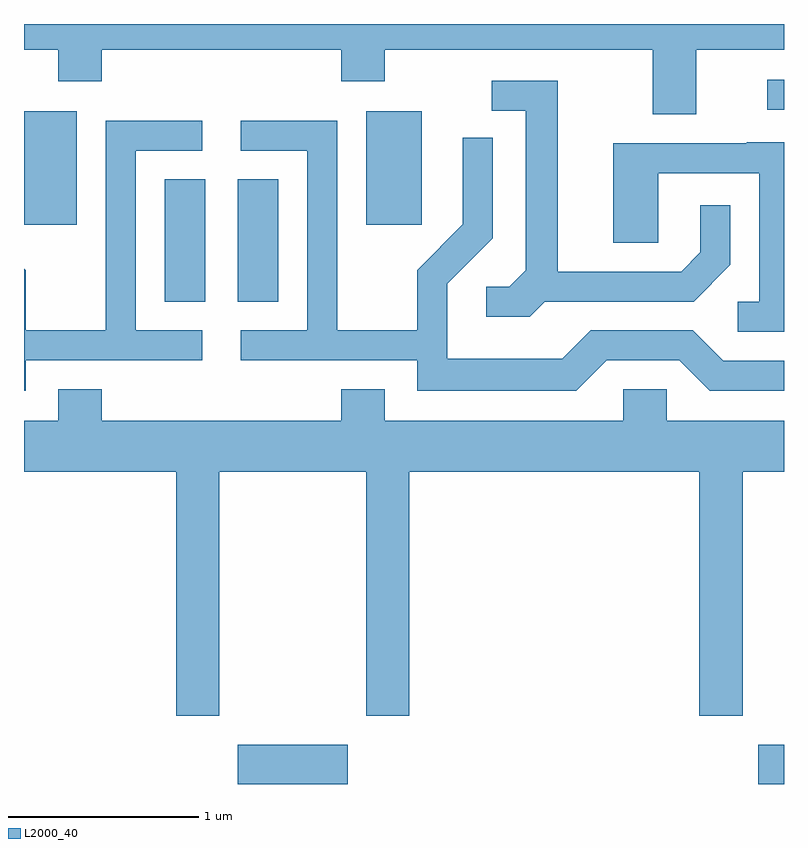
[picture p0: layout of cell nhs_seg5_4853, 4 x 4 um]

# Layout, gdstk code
import gdstk
lib = gdstk.Library(unit=1e-6, precision=1e-09)
def R(c, l, rs):  # rectangles x0, y0, x1, y1
    for r in rs: c.add(gdstk.rectangle(r[:2], r[2:], *l))
def P(c, l, *ps):  # polygons
    for p in ps: c.add(gdstk.Polygon(p, *l))
L2000_40 = (2000, 40)

nhs_seg5_4853 = lib.new_cell('nhs_seg5_4853')
R(nhs_seg5_4853, L2000_40, [(330.736,1424.072,331.314,1424.279), (333.476,1424.072,333.611,1424.279), (330.351,1426.611,330.564,1427.254), (330.736,1426.611,330.949,1427.254), (329.611,1427.016,329.889,1427.614), (331.411,1427.016,331.704,1427.614), (333.523,1427.621,333.611,1427.779)])
P(nhs_seg5_4853, L2000_40, [(333.149,1427.936),(333.611,1427.936),(333.611,1428.072),(329.611,1428.072),(329.611,1427.936),(329.791,1427.936),(329.791,1427.771),(330.019,1427.771),(330.019,1427.936),(331.281,1427.936),(331.281,1427.771),(331.509,1427.771),(331.509,1427.936),(332.921,1427.936),(332.921,1427.596),(333.149,1427.596)],
  [(332.352,1426.611),(333.137,1426.611),(333.329,1426.804),(333.329,1427.118),(333.171,1427.118),(333.171,1426.872),(333.069,1426.769),(332.419,1426.769),(332.419,1427.774),(332.073,1427.774),(332.073,1427.616),(332.251,1427.616),(332.251,1426.777),(332.164,1426.689),(332.043,1426.689),(332.043,1426.531),(332.272,1426.531)],
  [(332.677,1426.301),(333.059,1426.301),(333.219,1426.141),(333.611,1426.141),(333.611,1426.299),(333.292,1426.299),(333.132,1426.459),(332.594,1426.459),(332.444,1426.309),(331.839,1426.309),(331.839,1426.704),(332.079,1426.944),(332.079,1427.473),(331.921,1427.473),(331.921,1427.017),(331.681,1426.777),(331.681,1426.459),(331.259,1426.459),(331.259,1427.564),(330.753,1427.564),(330.753,1427.406),(331.101,1427.406),(331.101,1426.459),(330.753,1426.459),(330.753,1426.301),(331.681,1426.301),(331.681,1426.141),(332.517,1426.141)],
  [(329.619,1426.301),(330.548,1426.301),(330.548,1426.459),(330.199,1426.459),(330.199,1427.406),(330.548,1427.406),(330.548,1427.564),(330.041,1427.564),(330.041,1426.459),(329.619,1426.459),(329.619,1426.777),(329.611,1426.785),(329.611,1426.141),(329.619,1426.141)],
  [(333.611,1427.449),(333.415,1427.449),(333.415,1427.444),(332.711,1427.444),(332.711,1426.921),(332.949,1426.921),(332.949,1427.286),(333.481,1427.286),(333.481,1426.609),(333.368,1426.609),(333.368,1426.451),(333.611,1426.451)],
  [(330.639,1425.716),(331.411,1425.716),(331.411,1424.431),(331.639,1424.431),(331.639,1425.716),(333.166,1425.716),(333.166,1424.431),(333.394,1424.431),(333.394,1425.716),(333.611,1425.716),(333.611,1425.984),(332.994,1425.984),(332.994,1426.149),(332.766,1426.149),(332.766,1425.984),(331.509,1425.984),(331.509,1426.149),(331.281,1426.149),(331.281,1425.984),(330.019,1425.984),(330.019,1426.149),(329.791,1426.149),(329.791,1425.984),(329.611,1425.984),(329.611,1425.716),(330.411,1425.716),(330.411,1424.431),(330.639,1424.431)])

lib.write_gds('nhs_seg5_4853.gds')
